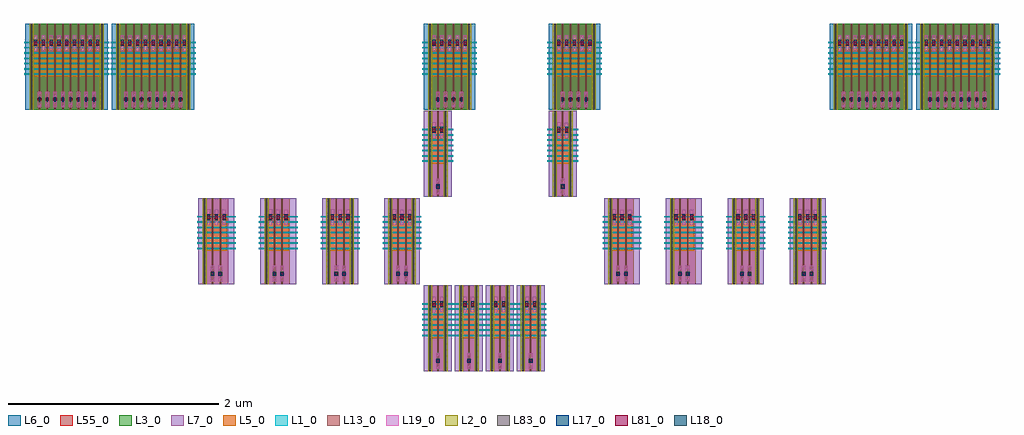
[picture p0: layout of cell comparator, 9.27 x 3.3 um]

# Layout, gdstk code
import gdstk
lib = gdstk.Library(unit=1e-6, precision=1e-09)
def R(c, l, rs):  # rectangles x0, y0, x1, y1
    for r in rs: c.add(gdstk.rectangle(r[:2], r[2:], *l))
def A(c, l, x, y, w, h, nx, ny, dx, dy):  # array of equal rectangles
    R(c, l, [(x+i*dx, y+j*dy, x+i*dx+w, y+j*dy+h) for i in range(nx) for j in range(ny)])
L1_0 = (1, 0)
L2_0 = (2, 0)
L3_0 = (3, 0)
L5_0 = (5, 0)
L6_0 = (6, 0)
L7_0 = (7, 0)
L13_0 = (13, 0)
L17_0 = (17, 0)
L18_0 = (18, 0)
L19_0 = (19, 0)
L55_0 = (55, 0)
L81_0 = (81, 0)
L83_0 = (83, 0)

nfet_pcell_144c = lib.new_cell('nfet_pcell_144c')
A(nfet_pcell_144c, L1_0, -0.14, 0, 0.294, 0.014, 1, 7, 0, 0.05)
R(nfet_pcell_144c, L2_0, [(-0.086,-0.333,-0.048,0.485), (0.062,-0.333,0.1,0.485)])
R(nfet_pcell_144c, L5_0, [(-0.067,-0.018,0,0.332), (0,-0.018,0.014,0.332), (0.014,-0.018,0.081,0.332)])
R(nfet_pcell_144c, L7_0, [(-0.126,-0.333,0.14,0.485)])
A(nfet_pcell_144c, L13_0, -0.074, -0.333, 0.014, 0.818, 3, 1, 0.074, 0)
R(nfet_pcell_144c, L13_0, [(-0.074,-0.333,-0.06,0.485), (0.074,-0.333,0.088,0.485)])
R(nfet_pcell_144c, L17_0, [(-0.045,0.275,-0.015,0.332), (0.029,0.275,0.059,0.332)])
R(nfet_pcell_144c, L18_0, [(-0.01,-0.254,0.024,-0.214)])
R(nfet_pcell_144c, L19_0, [(-0.01,-0.308,0.024,-0.16), (-0.01,-0.308,0.024,-0.16), (-0.047,0.224,-0.013,0.376), (-0.047,0.226,-0.013,0.374), (0.027,0.226,0.061,0.374), (0.027,0.23,0.061,0.37)])
R(nfet_pcell_144c, L55_0, [(-0.067,-0.333,0.081,0.485)])
R(nfet_pcell_144c, L81_0, [(-0.008,-0.249,0.022,-0.219), (-0.045,0.285,-0.015,0.315), (0.029,0.285,0.059,0.315)])
R(nfet_pcell_144c, L83_0, [(-0.074,-0.333,-0.06,0.485), (0.074,-0.333,0.088,0.485)])

nfet_pcell_8a2a = lib.new_cell('nfet_pcell_8a2a')
A(nfet_pcell_8a2a, L1_0, -0.14, 0, 0.294, 0.014, 1, 7, 0, 0.05)
R(nfet_pcell_8a2a, L2_0, [(-0.086,-0.333,-0.048,0.485)])
R(nfet_pcell_8a2a, L5_0, [(-0.067,-0.018,0,0.332), (0,-0.018,0.014,0.332), (0.014,-0.018,0.069,0.332)])
R(nfet_pcell_8a2a, L7_0, [(-0.126,-0.333,0.14,0.485)])
R(nfet_pcell_8a2a, L13_0, [(-0.074,-0.333,-0.06,0.485), (-0.074,-0.333,-0.06,0.485), (0,-0.333,0.014,0.485)])
R(nfet_pcell_8a2a, L17_0, [(-0.045,0.275,-0.015,0.332), (0.029,0.275,0.059,0.332)])
R(nfet_pcell_8a2a, L18_0, [(-0.01,-0.254,0.024,-0.214)])
R(nfet_pcell_8a2a, L19_0, [(-0.01,-0.308,0.024,-0.16), (-0.01,-0.308,0.024,-0.16), (-0.047,0.224,-0.013,0.376), (-0.047,0.226,-0.013,0.374), (0.027,0.226,0.061,0.374), (0.027,0.23,0.061,0.37)])
R(nfet_pcell_8a2a, L55_0, [(-0.067,-0.333,0.081,0.485)])
R(nfet_pcell_8a2a, L81_0, [(-0.008,-0.249,0.022,-0.219), (-0.045,0.285,-0.015,0.315), (0.029,0.285,0.059,0.315)])
R(nfet_pcell_8a2a, L83_0, [(-0.074,-0.333,-0.06,0.485)])

pfet_pcell_8642 = lib.new_cell('pfet_pcell_8642')
A(pfet_pcell_8642, L1_0, -0.14, 0, 0.294, 0.014, 1, 7, 0, 0.05)
R(pfet_pcell_8642, L3_0, [(-0.067,-0.333,0.081,0.485)])
R(pfet_pcell_8642, L5_0, [(-0.005,-0.018,0,0.332), (0,-0.018,0.014,0.332), (0.014,-0.018,0.069,0.332)])
R(pfet_pcell_8642, L6_0, [(-0.126,-0.333,0.14,0.485)])
R(pfet_pcell_8642, L13_0, [(0,-0.333,0.014,0.485)])
R(pfet_pcell_8642, L17_0, [(0.029,0.275,0.059,0.332)])
R(pfet_pcell_8642, L18_0, [(0,-0.254,0.014,-0.214)])
R(pfet_pcell_8642, L19_0, [(-0.01,-0.308,0.024,-0.16), (-0.01,-0.308,0.024,-0.16), (0.027,0.226,0.061,0.374), (0.027,0.23,0.061,0.37)])
R(pfet_pcell_8642, L55_0, [(-0.067,-0.333,0.081,0.485)])
R(pfet_pcell_8642, L81_0, [(-0.008,-0.249,0.022,-0.219), (0.029,0.285,0.059,0.315)])

nfet_pcell_89c7 = lib.new_cell('nfet_pcell_89c7')
A(nfet_pcell_89c7, L1_0, -0.14, 0, 0.294, 0.014, 1, 7, 0, 0.05)
R(nfet_pcell_89c7, L5_0, [(-0.005,-0.018,0,0.332), (0,-0.018,0.014,0.332), (0.014,-0.018,0.069,0.332)])
R(nfet_pcell_89c7, L7_0, [(-0.126,-0.333,0.14,0.485)])
R(nfet_pcell_89c7, L13_0, [(0,-0.333,0.014,0.485)])
R(nfet_pcell_89c7, L17_0, [(0.029,0.275,0.059,0.332)])
R(nfet_pcell_89c7, L18_0, [(-0.01,-0.254,0.024,-0.214)])
R(nfet_pcell_89c7, L19_0, [(-0.01,-0.308,0.024,-0.16), (-0.01,-0.308,0.024,-0.16), (0.027,0.226,0.061,0.374), (0.027,0.23,0.061,0.37)])
R(nfet_pcell_89c7, L55_0, [(-0.067,-0.333,0.081,0.485)])
R(nfet_pcell_89c7, L81_0, [(-0.008,-0.249,0.022,-0.219), (0.029,0.285,0.059,0.315)])

pfet_pcell_95ad = lib.new_cell('pfet_pcell_95ad')
A(pfet_pcell_95ad, L1_0, -0.14, 0, 0.294, 0.014, 1, 7, 0, 0.05)
R(pfet_pcell_95ad, L2_0, [(0.062,-0.333,0.1,0.485)])
R(pfet_pcell_95ad, L3_0, [(-0.067,-0.333,0.081,0.485)])
R(pfet_pcell_95ad, L5_0, [(-0.005,-0.018,0,0.332), (0,-0.018,0.014,0.332), (0.014,-0.018,0.081,0.332)])
R(pfet_pcell_95ad, L6_0, [(-0.126,-0.333,0.14,0.485)])
R(pfet_pcell_95ad, L13_0, [(0,-0.333,0.014,0.485), (0.074,-0.333,0.088,0.485), (0.074,-0.333,0.088,0.485)])
R(pfet_pcell_95ad, L17_0, [(0.029,0.275,0.059,0.332)])
R(pfet_pcell_95ad, L18_0, [(0,-0.254,0.014,-0.214)])
R(pfet_pcell_95ad, L19_0, [(-0.01,-0.308,0.024,-0.16), (-0.01,-0.308,0.024,-0.16), (0.027,0.226,0.061,0.374), (0.027,0.23,0.061,0.37)])
R(pfet_pcell_95ad, L55_0, [(-0.067,-0.333,0.081,0.485)])
R(pfet_pcell_95ad, L81_0, [(-0.008,-0.249,0.022,-0.219), (0.029,0.285,0.059,0.315)])
R(pfet_pcell_95ad, L83_0, [(0.074,-0.333,0.088,0.485)])

nfet_pcell_a3af = lib.new_cell('nfet_pcell_a3af')
A(nfet_pcell_a3af, L1_0, -0.14, 0, 0.294, 0.014, 1, 7, 0, 0.05)
R(nfet_pcell_a3af, L2_0, [(0.062,-0.333,0.1,0.485)])
R(nfet_pcell_a3af, L5_0, [(-0.005,-0.018,0,0.332), (0,-0.018,0.014,0.332), (0.014,-0.018,0.081,0.332)])
R(nfet_pcell_a3af, L7_0, [(-0.126,-0.333,0.14,0.485)])
R(nfet_pcell_a3af, L13_0, [(0,-0.333,0.014,0.485), (0.074,-0.333,0.088,0.485), (0.074,-0.333,0.088,0.485)])
R(nfet_pcell_a3af, L17_0, [(0.029,0.275,0.059,0.332)])
R(nfet_pcell_a3af, L18_0, [(-0.01,-0.254,0.024,-0.214)])
R(nfet_pcell_a3af, L19_0, [(-0.01,-0.308,0.024,-0.16), (-0.01,-0.308,0.024,-0.16), (0.027,0.226,0.061,0.374), (0.027,0.23,0.061,0.37)])
R(nfet_pcell_a3af, L55_0, [(-0.067,-0.333,0.081,0.485)])
R(nfet_pcell_a3af, L81_0, [(-0.008,-0.249,0.022,-0.219), (0.029,0.285,0.059,0.315)])
R(nfet_pcell_a3af, L83_0, [(0.074,-0.333,0.088,0.485)])

pfet_pcell_1c5a = lib.new_cell('pfet_pcell_1c5a')
A(pfet_pcell_1c5a, L1_0, -0.14, 0, 0.294, 0.014, 1, 7, 0, 0.05)
R(pfet_pcell_1c5a, L2_0, [(-0.086,-0.333,-0.048,0.485)])
R(pfet_pcell_1c5a, L3_0, [(-0.067,-0.333,0.081,0.485)])
R(pfet_pcell_1c5a, L5_0, [(-0.067,-0.018,0,0.332), (0,-0.018,0.014,0.332), (0.014,-0.018,0.069,0.332)])
R(pfet_pcell_1c5a, L6_0, [(-0.126,-0.333,0.14,0.485)])
R(pfet_pcell_1c5a, L13_0, [(-0.074,-0.333,-0.06,0.485), (-0.074,-0.333,-0.06,0.485), (0,-0.333,0.014,0.485)])
R(pfet_pcell_1c5a, L17_0, [(-0.045,0.275,-0.015,0.332), (0.029,0.275,0.059,0.332)])
R(pfet_pcell_1c5a, L18_0, [(0,-0.254,0.014,-0.214)])
R(pfet_pcell_1c5a, L19_0, [(-0.01,-0.308,0.024,-0.16), (-0.01,-0.308,0.024,-0.16), (-0.047,0.224,-0.013,0.376), (-0.047,0.226,-0.013,0.374), (0.027,0.226,0.061,0.374), (0.027,0.23,0.061,0.37)])
R(pfet_pcell_1c5a, L55_0, [(-0.067,-0.333,0.081,0.485)])
R(pfet_pcell_1c5a, L81_0, [(-0.008,-0.249,0.022,-0.219), (-0.045,0.285,-0.015,0.315), (0.029,0.285,0.059,0.315)])
R(pfet_pcell_1c5a, L83_0, [(-0.074,-0.333,-0.06,0.485)])

comparator = lib.new_cell('comparator')
comparator.add(gdstk.Reference(nfet_pcell_144c, (3.936,-2.979)))
comparator.add(gdstk.Reference(nfet_pcell_144c, (4.23,-2.979)))
comparator.add(gdstk.Reference(nfet_pcell_144c, (4.524,-2.979)))
comparator.add(gdstk.Reference(nfet_pcell_144c, (4.818,-2.979)))
comparator.add(gdstk.Reference(nfet_pcell_144c, (5.122,-1.323)))
comparator.add(gdstk.Reference(nfet_pcell_144c, (3.936,-1.323)))
comparator.add(gdstk.Reference(nfet_pcell_8a2a, (1.794,-2.151)))
comparator.add(gdstk.Reference(nfet_pcell_8a2a, (2.382,-2.151)))
comparator.add(gdstk.Reference(nfet_pcell_8a2a, (2.97,-2.151)))
comparator.add(gdstk.Reference(nfet_pcell_8a2a, (3.558,-2.151)))
comparator.add(gdstk.Reference(nfet_pcell_8a2a, (5.648,-2.151)))
comparator.add(gdstk.Reference(nfet_pcell_8a2a, (6.236,-2.151)))
comparator.add(gdstk.Reference(nfet_pcell_8a2a, (6.824,-2.151)))
comparator.add(gdstk.Reference(nfet_pcell_8a2a, (7.412,-2.151)))
comparator.add(gdstk.Reference(pfet_pcell_8642, (8.686,-0.495)))
comparator.add(gdstk.Reference(pfet_pcell_8642, (8.76,-0.495)))
comparator.add(gdstk.Reference(pfet_pcell_8642, (8.834,-0.495)))
comparator.add(gdstk.Reference(pfet_pcell_8642, (8.908,-0.495)))
comparator.add(gdstk.Reference(pfet_pcell_8642, (8.982,-0.495)))
comparator.add(gdstk.Reference(pfet_pcell_8642, (9.056,-0.495)))
comparator.add(gdstk.Reference(pfet_pcell_8642, (0.224,-0.495)))
comparator.add(gdstk.Reference(pfet_pcell_8642, (0.298,-0.495)))
comparator.add(gdstk.Reference(pfet_pcell_8642, (0.372,-0.495)))
comparator.add(gdstk.Reference(pfet_pcell_8642, (0.446,-0.495)))
comparator.add(gdstk.Reference(pfet_pcell_8642, (0.52,-0.495)))
comparator.add(gdstk.Reference(pfet_pcell_8642, (0.594,-0.495)))
comparator.add(gdstk.Reference(pfet_pcell_8642, (1.046,-0.495)))
comparator.add(gdstk.Reference(pfet_pcell_8642, (1.12,-0.495)))
comparator.add(gdstk.Reference(pfet_pcell_8642, (1.194,-0.495)))
comparator.add(gdstk.Reference(pfet_pcell_8642, (1.268,-0.495)))
comparator.add(gdstk.Reference(pfet_pcell_8642, (1.342,-0.495)))
comparator.add(gdstk.Reference(pfet_pcell_8642, (1.416,-0.495)))
comparator.add(gdstk.Reference(pfet_pcell_8642, (7.864,-0.495)))
comparator.add(gdstk.Reference(pfet_pcell_8642, (7.938,-0.495)))
comparator.add(gdstk.Reference(pfet_pcell_8642, (8.012,-0.495)))
comparator.add(gdstk.Reference(pfet_pcell_8642, (8.086,-0.495)))
comparator.add(gdstk.Reference(pfet_pcell_8642, (8.16,-0.495)))
comparator.add(gdstk.Reference(pfet_pcell_8642, (8.234,-0.495)))
comparator.add(gdstk.Reference(pfet_pcell_8642, (4.01,-0.495)))
comparator.add(gdstk.Reference(pfet_pcell_8642, (4.084,-0.495)))
comparator.add(gdstk.Reference(pfet_pcell_8642, (5.196,-0.495)))
comparator.add(gdstk.Reference(pfet_pcell_8642, (5.27,-0.495)))
comparator.add(gdstk.Reference(nfet_pcell_89c7, (1.868,-2.151)))
comparator.add(gdstk.Reference(nfet_pcell_89c7, (2.456,-2.151)))
comparator.add(gdstk.Reference(nfet_pcell_89c7, (5.722,-2.151)))
comparator.add(gdstk.Reference(nfet_pcell_89c7, (6.31,-2.151)))
comparator.add(gdstk.Reference(pfet_pcell_95ad, (9.13,-0.495)))
comparator.add(gdstk.Reference(pfet_pcell_95ad, (0.668,-0.495)))
comparator.add(gdstk.Reference(pfet_pcell_95ad, (1.49,-0.495)))
comparator.add(gdstk.Reference(pfet_pcell_95ad, (4.158,-0.495)))
comparator.add(gdstk.Reference(pfet_pcell_95ad, (8.308,-0.495)))
comparator.add(gdstk.Reference(pfet_pcell_95ad, (5.344,-0.495)))
comparator.add(gdstk.Reference(nfet_pcell_a3af, (3.044,-2.151)))
comparator.add(gdstk.Reference(nfet_pcell_a3af, (3.632,-2.151)))
comparator.add(gdstk.Reference(nfet_pcell_a3af, (6.898,-2.151)))
comparator.add(gdstk.Reference(nfet_pcell_a3af, (7.486,-2.151)))
comparator.add(gdstk.Reference(pfet_pcell_1c5a, (8.612,-0.495)))
comparator.add(gdstk.Reference(pfet_pcell_1c5a, (0.15,-0.495)))
comparator.add(gdstk.Reference(pfet_pcell_1c5a, (0.972,-0.495)))
comparator.add(gdstk.Reference(pfet_pcell_1c5a, (7.79,-0.495)))
comparator.add(gdstk.Reference(pfet_pcell_1c5a, (3.936,-0.495)))
comparator.add(gdstk.Reference(pfet_pcell_1c5a, (5.122,-0.495)))

lib.write_gds('comparator.gds')
